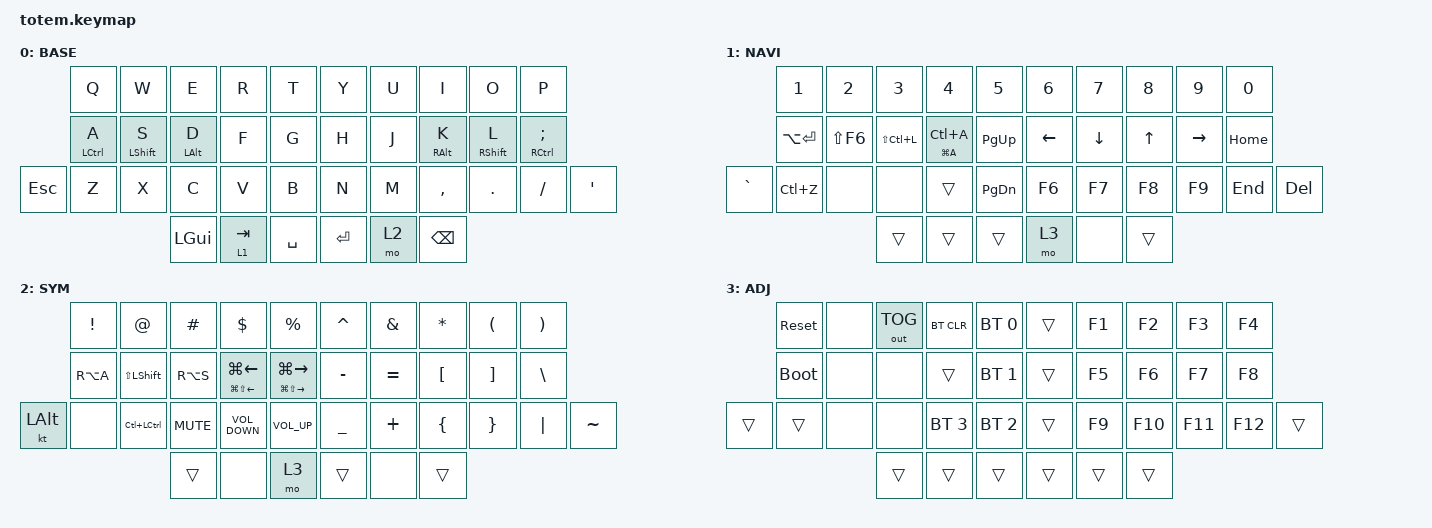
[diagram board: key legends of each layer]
//
//                                                        ▀▀▀▀▀     ▀▀▀▀▀          ▀▀█▀▀
//                                                        ▄▀▀▀▄  ▄  ▄▀▀▀▄  ▄  ▄▀▀▀▄  █  ▄▀▀▀▄
//                                                        █   █  █  █   █  █  █   █  █  █   █
//                                                         ▀▀▀   █   ▀▀▀   █   ▀▀▀   ▀   ▀▀▀
//                                                               █      ▄▄▄█▄▄▄    █   █  
//                                                               ▀      █  █  █     █▄█
//                                                             ▀▀▀▀▀    █  █  █      ▀
//                                                                      ▀  ▀  ▀
//
// ▄▄▄▄▄▄▄▄▄▄▄▄▄▄▄▄▄▄▄▄▄▄▄▄▄▄▄▄▄▄▄▄▄▄▄▄▄▄▄▄▄▄▄▄▄▄▄▄▄▄▄▄▄▄▄▄▄▄▄▄▄▄▄▄▄▄▄▄▄▄▄▄▄▄▄▄▄▄▄▄▄▄▄▄▄▄▄▄▄▄▄▄▄▄▄▄▄▄▄▄▄▄▄▄▄▄▄▄▄▄▄▄▄▄▄▄▄▄▄▄▄▄▄▄▄▄▄▄▄▄▄▄▄▄▄▄▄▄▄▄▄▄▄▄▄▄▄▄▄

#include <behaviors.dtsi>
#include <dt-bindings/zmk/bt.h>
#include <dt-bindings/zmk/keys.h>
#include <dt-bindings/zmk/outputs.h>

#define BASE 0
#define NAV  1
#define SYM  2
#define ADJ  3
#define TVP1 4
#define TVP2 5

&mt {
    quick-tap-ms = <100>;
    global-quick-tap;
    flavor = "tap-preferred";
    tapping-term-ms = <180>;
};

/ {
    combos {
        compatible = "zmk,combos";

        combo_esc {
            timeout-ms = <50>;
            key-positions = <0 1>;
            bindings = <&kp ESC>;
        };

        screenshot {
            bindings = <&mt PRINTSCREEN LG(LS(NUMBER_4))>;
            key-positions = <26 27 28 29>;
        };

        backspace {
            bindings = <&kp BACKSPACE>;
            key-positions = <25 24 23>;
        };

        toggleshift {
            bindings = <&kt LEFT_SHIFT>;
            key-positions = <15 16 17>;
        };

        bspace_right {
            bindings = <&kp BACKSPACE>;
            key-positions = <26 27 28>;
        };

        copy {
            bindings = <&kp C_AC_COPY>;
            key-positions = <12 13>;
        };

        paste {
            bindings = <&kp C_AC_PASTE>;
            key-positions = <14 13>;
        };

        layout {
            bindings = <&kp LS(LEFT_ALT)>;
            key-positions = <10 11 12 24>;
        };

        Project_window {
            bindings = <&kp LA(NUMBER_1)>;
            key-positions = <11 12>;
        };

        Git_window {
            bindings = <&kp LA(N9)>;
            key-positions = <22 23>;
        };
    };

    keymap {
        compatible = "zmk,keymap";

        // ▄▄▄▄▄▄▄▄▄▄▄▄▄▄▄▄▄▄▄▄▄▄▄▄▄▄▄▄▄▄▄▄▄▄▄▄▄▄▄▄▄▄▄▄▄▄▄▄▄▄▄▄▄▄▄▄▄▄▄▄▄▄▄▄▄▄▄▄▄▄▄▄▄▄▄▄▄▄▄▄▄▄▄▄▄▄▄▄▄▄▄▄▄▄▄▄▄▄▄▄▄▄▄▄▄▄▄▄▄▄▄▄▄▄▄▄▄▄▄▄▄▄▄▄▄▄▄▄▄▄▄▄▄▄▄▄▄▄▄▄▄▄▄▄▄▄▄▄▄

        base_layer {
            // ┏━━━━━━━━━━━━━━━━━━━━━━━━━━━━━━━━━━━━━━━┓

            label = "BASE";

            // ┗━━━━━━━━━━━━━━━━━━━━━━━━━━━━━━━━━━━━━━━┛
            //             ┏━━━━━━━━━━━┳━━━━━━━━━━━┳━━━━━━━━━━━┳━━━━━━━━━━━┳━━━━━━━━━━━┓   ┏━━━━━━━━━━━┳━━━━━━━━━━━┳━━━━━━━━━━━┳━━━━━━━━━━━┳━━━━━━━━━━━┓
            //             ┃     Q     ┃     W     ┃     F     ┃     P     ┃     G     ┃   ┃     J     ┃     L     ┃     U     ┃     Y     ┃     ;     ┃
            //             ┣━━━━━━━━━━━╋━━━━━━━━━━━╋━━━━━━━━━━━╋━━━━━━━━━━━╋━━━━━━━━━━━┫   ┣━━━━━━━━━━━╋━━━━━━━━━━━╋━━━━━━━━━━━╋━━━━━━━━━━━╋━━━━━━━━━━━┫
            //             ┃     A     ┃     R     ┃     S     ┃     T     ┃     D     ┃   ┃     H     ┃     N     ┃     E     ┃     I     ┃     O     ┃
            // ┏━━━━━━━━━━━╋━━━━━━━━━━━╋━━━━━━━━━━━╋━━━━━━━━━━━╋━━━━━━━━━━━╋━━━━━━━━━━━┫   ┣━━━━━━━━━━━╋━━━━━━━━━━━╋━━━━━━━━━━━╋━━━━━━━━━━━╋━━━━━━━━━━━╋━━━━━━━━━━━┓
            // ┃     Q     ┃     Z     ┃     X     ┃     C     ┃     V     ┃     B     ┃   ┃     K     ┃     M     ┃     ,     ┃     .     ┃     /     ┃     \     ┃
            // ┗━━━━━━━━━━━┻━━━━━━━━━━━┻━━━━━━━━━━━╋━━━━━━━━━━━╋━━━━━━━━━━━╋━━━━━━━━━━━┫   ┣━━━━━━━━━━━╋━━━━━━━━━━━╋━━━━━━━━━━━╋━━━━━━━━━━━┻━━━━━━━━━━━┻━━━━━━━━━━━┛
            //                                     ┃    DEL    ┃    TAB    ┃    SPC    ┃   ┃   ENTER   ┃           ┃   BSPC    ┃
            //                                     ┗━━━━━━━━━━━┻━━━━━━━━━━━┻━━━━━━━━━━━┛   ┗━━━━━━━━━━━┻━━━━━━━━━━━┻━━━━━━━━━━━┛

            bindings = <
         &kp Q        &kp W         &kp E           &kp R      &kp T        &kp Y    &kp U  &kp I            &kp O              &kp P
         &mt LCTRL A  &mt LSHIFT S  &mt LEFT_ALT D  &kp F      &kp G        &kp H    &kp J  &mt RIGHT_ALT K  &mt RIGHT_SHIFT L  &mt RCTRL SEMI
&kp ESC  &kp Z        &kp X         &kp C           &kp V      &kp B        &kp N    &kp M  &kp COMMA        &kp DOT            &kp FSLH        &kp APOS
                                    &kp LGUI        &lt 1 TAB  &kp SPACE    &kp RET  &mo 2  &kp BSPC
            >;
        };

        // ▄▄▄▄▄▄▄▄▄▄▄▄▄▄▄▄▄▄▄▄▄▄▄▄▄▄▄▄▄▄▄▄▄▄▄▄▄▄▄▄▄▄▄▄▄▄▄▄▄▄▄▄▄▄▄▄▄▄▄▄▄▄▄▄▄▄▄▄▄▄▄▄▄▄▄▄▄▄▄▄▄▄▄▄▄▄▄▄▄▄▄▄▄▄▄▄▄▄▄▄▄▄▄▄▄▄▄▄▄▄▄▄▄▄▄▄▄▄▄▄▄▄▄▄▄▄▄▄▄▄▄▄▄▄▄▄▄▄▄▄▄▄▄▄▄▄▄▄▄

        nav_layer {
            // ┏━━━━━━━━━━━━━━━━━━━━━━━━━━━━━━━━━━━━━━━┓

            label = "NAVI";

            // ┗━━━━━━━━━━━━━━━━━━━━━━━━━━━━━━━━━━━━━━━┛
            //             ┏━━━━━━━━━━━┳━━━━━━━━━━━┳━━━━━━━━━━━┳━━━━━━━━━━━┳━━━━━━━━━━━┓   ┏━━━━━━━━━━━┳━━━━━━━━━━━┳━━━━━━━━━━━┳━━━━━━━━━━━┳━━━━━━━━━━━┓
            //             ┃           ┃           ┃     UP    ┃           ┃     {     ┃   ┃     }     ┃     7     ┃     8     ┃     9     ┃     +     ┃
            //             ┣━━━━━━━━━━━╋━━━━━━━━━━━╋━━━━━━━━━━━╋━━━━━━━━━━━╋━━━━━━━━━━━┫   ┣━━━━━━━━━━━╋━━━━━━━━━━━╋━━━━━━━━━━━╋━━━━━━━━━━━╋━━━━━━━━━━━┫
            //             ┃   SHIFT   ┃   LEFT    ┃    DOWN   ┃   RIGHT   ┃     [     ┃   ┃     ]     ┃     4     ┃     5     ┃     6     ┃     -     ┃
            // ┏━━━━━━━━━━━╋━━━━━━━━━━━╋━━━━━━━━━━━╋━━━━━━━━━━━╋━━━━━━━━━━━╋━━━━━━━━━━━┫   ┣━━━━━━━━━━━╋━━━━━━━━━━━╋━━━━━━━━━━━╋━━━━━━━━━━━╋━━━━━━━━━━━╋━━━━━━━━━━━┓
            // ┃           ┃           ┃   P UP    ┃  C LOCK   ┃  P DOWN   ┃     (     ┃   ┃     )     ┃     1     ┃     2     ┃     3     ┃     *     ┃           ┃
            // ┗━━━━━━━━━━━┻━━━━━━━━━━━┻━━━━━━━━━━━╋━━━━━━━━━━━╋━━━━━━━━━━━╋━━━━━━━━━━━┫   ┣━━━━━━━━━━━╋━━━━━━━━━━━╋━━━━━━━━━━━╋━━━━━━━━━━━┻━━━━━━━━━━━┻━━━━━━━━━━━┛
            //                                     ┃           ┃    TAB    ┃    SPC    ┃   ┃    DEL    ┃     0     ┃           ┃
            //                                     ┗━━━━━━━━━━━┻━━━━━━━━━━━┻━━━━━━━━━━━┛   ┗━━━━━━━━━━━┻━━━━━━━━━━━┻━━━━━━━━━━━┛

            bindings = <
           &kp NUMBER_1   &kp NUMBER_2  &kp NUMBER_3   &kp NUMBER_4     &kp N5           &kp NUMBER_6  &kp N7    &kp NUMBER_8  &kp NUMBER_9  &kp N0
           &kp LA(ENTER)  &kp LS(F6)    &kp LS(LC(L))  &mt LG(A) LC(A)  &kp PAGE_UP      &kp LEFT      &kp DOWN  &kp UP_ARROW  &kp RIGHT     &kp HOME
&kp GRAVE  &kp LC(Z)      &none         &none          &trans           &kp PAGE_DOWN    &kp F6        &kp F7    &kp F8        &kp F9        &kp END   &kp DELETE
                                        &trans         &trans           &trans           &mo 3         &none     &trans
            >;
        };

        // ▄▄▄▄▄▄▄▄▄▄▄▄▄▄▄▄▄▄▄▄▄▄▄▄▄▄▄▄▄▄▄▄▄▄▄▄▄▄▄▄▄▄▄▄▄▄▄▄▄▄▄▄▄▄▄▄▄▄▄▄▄▄▄▄▄▄▄▄▄▄▄▄▄▄▄▄▄▄▄▄▄▄▄▄▄▄▄▄▄▄▄▄▄▄▄▄▄▄▄▄▄▄▄▄▄▄▄▄▄▄▄▄▄▄▄▄▄▄▄▄▄▄▄▄▄▄▄▄▄▄▄▄▄▄▄▄▄▄▄▄▄▄▄▄▄▄▄▄▄

        sim_layer {
            // ┏━━━━━━━━━━━━━━━━━━━━━━━━━━━━━━━━━━━━━━━┓

            label = "SYM";

            // ┗━━━━━━━━━━━━━━━━━━━━━━━━━━━━━━━━━━━━━━━┛
            //             ┏━━━━━━━━━━━┳━━━━━━━━━━━┳━━━━━━━━━━━┳━━━━━━━━━━━┳━━━━━━━━━━━┓   ┏━━━━━━━━━━━┳━━━━━━━━━━━┳━━━━━━━━━━━┳━━━━━━━━━━━┳━━━━━━━━━━━┓
            //             ┃     !     ┃     @     ┃     #     ┃     $     ┃     %     ┃   ┃     ˆ     ┃     &     ┃     Ü     ┃     '     ┃     "     ┃
            //             ┣━━━━━━━━━━━╋━━━━━━━━━━━╋━━━━━━━━━━━╋━━━━━━━━━━━╋━━━━━━━━━━━┫   ┣━━━━━━━━━━━╋━━━━━━━━━━━╋━━━━━━━━━━━╋━━━━━━━━━━━╋━━━━━━━━━━━┫
            //             ┃     Ä     ┃           ┃    SZ     ┃           ┃           ┃   ┃   MUTE    ┃   YEN     ┃   EURO    ┃  POUND    ┃     Ö     ┃
            // ┏━━━━━━━━━━━╋━━━━━━━━━━━╋━━━━━━━━━━━╋━━━━━━━━━━━╋━━━━━━━━━━━╋━━━━━━━━━━━┫   ┣━━━━━━━━━━━╋━━━━━━━━━━━╋━━━━━━━━━━━╋━━━━━━━━━━━╋━━━━━━━━━━━╋━━━━━━━━━━━┓
            // ┃           ┃  EMAIL1   ┃  EMAIL2   ┃           ┃           ┃           ┃   ┃   VOL-    ┃   VOL+    ┃   LAST    ┃   NEXT    ┃     \     ┃           ┃
            // ┗━━━━━━━━━━━┻━━━━━━━━━━━┻━━━━━━━━━━━╋━━━━━━━━━━━╋━━━━━━━━━━━╋━━━━━━━━━━━┫   ┣━━━━━━━━━━━╋━━━━━━━━━━━╋━━━━━━━━━━━╋━━━━━━━━━━━┻━━━━━━━━━━━┻━━━━━━━━━━━┛
            //                                     ┃           ┃    GIF    ┃    ADJ    ┃   ┃           ┃           ┃           ┃
            //                                     ┗━━━━━━━━━━━┻━━━━━━━━━━━┻━━━━━━━━━━━┛   ┗━━━━━━━━━━━┻━━━━━━━━━━━┻━━━━━━━━━━━┛

            bindings = <
              &kp EXCL   &kp AT                &kp HASH    &kp DLLR                   &kp PRCNT                      &kp CARET  &kp AMPS   &kp ASTRK  &kp LPAR  &kp RPAR
              &kp RA(A)  &kp LS(LSHIFT)        &kp RA(S)   &mt LG(LS(LEFT)) LG(LEFT)  &mt LG(LS(RIGHT)) LG(RIGHT)    &kp MINUS  &kp EQUAL  &kp LBKT   &kp RBKT  &kp BSLH
&kt LEFT_ALT  &none      &kp LC(LEFT_CONTROL)  &kp K_MUTE  &kp C_VOLUME_DOWN          &kp C_VOLUME_UP                &kp UNDER  &kp PLUS   &kp LBRC   &kp RBRC  &kp PIPE  &kp TILDE
                                               &trans      &none                      &mo 3                          &trans     &none      &trans
            >;
        };

        // ▄▄▄▄▄▄▄▄▄▄▄▄▄▄▄▄▄▄▄▄▄▄▄▄▄▄▄▄▄▄▄▄▄▄▄▄▄▄▄▄▄▄▄▄▄▄▄▄▄▄▄▄▄▄▄▄▄▄▄▄▄▄▄▄▄▄▄▄▄▄▄▄▄▄▄▄▄▄▄▄▄▄▄▄▄▄▄▄▄▄▄▄▄▄▄▄▄▄▄▄▄▄▄▄▄▄▄▄▄▄▄▄▄▄▄▄▄▄▄▄▄▄▄▄▄▄▄▄▄▄▄▄▄▄▄▄▄▄▄▄▄▄▄▄▄▄▄▄▄

        adjust_layer {
            // ┏━━━━━━━━━━━━━━━━━━━━━━━━━━━━━━━━━━━━━━━┓

            label = "ADJ";

            // ┗━━━━━━━━━━━━━━━━━━━━━━━━━━━━━━━━━━━━━━━┛
            //             ┏━━━━━━━━━━━┳━━━━━━━━━━━┳━━━━━━━━━━━┳━━━━━━━━━━━┳━━━━━━━━━━━┓   ┏━━━━━━━━━━━┳━━━━━━━━━━━┳━━━━━━━━━━━┳━━━━━━━━━━━┳━━━━━━━━━━━┓
            //             ┃   RESET   ┃ BT CLEAR  ┃  OUT TOG  ┃           ┃           ┃   ┃           ┃    F7     ┃    F8     ┃    F9     ┃    F12    ┃
            //             ┣━━━━━━━━━━━╋━━━━━━━━━━━╋━━━━━━━━━━━╋━━━━━━━━━━━╋━━━━━━━━━━━┫   ┣━━━━━━━━━━━╋━━━━━━━━━━━╋━━━━━━━━━━━╋━━━━━━━━━━━╋━━━━━━━━━━━┫
            //             ┃ BOOTLOAD  ┃ BT NEXT   ┃           ┃           ┃           ┃   ┃           ┃    F4     ┃    F5     ┃    F6     ┃    F11    ┃
            // ┏━━━━━━━━━━━╋━━━━━━━━━━━╋━━━━━━━━━━━╋━━━━━━━━━━━╋━━━━━━━━━━━╋━━━━━━━━━━━┫   ┣━━━━━━━━━━━╋━━━━━━━━━━━╋━━━━━━━━━━━╋━━━━━━━━━━━╋━━━━━━━━━━━╋━━━━━━━━━━━┓
            // ┃           ┃           ┃ BT PREV   ┃           ┃           ┃           ┃   ┃           ┃    F1     ┃    F2     ┃    F3     ┃    F10    ┃           ┃
            // ┗━━━━━━━━━━━┻━━━━━━━━━━━┻━━━━━━━━━━━╋━━━━━━━━━━━╋━━━━━━━━━━━╋━━━━━━━━━━━┫   ┣━━━━━━━━━━━╋━━━━━━━━━━━╋━━━━━━━━━━━╋━━━━━━━━━━━┻━━━━━━━━━━━┻━━━━━━━━━━━┛
            //                                     ┃           ┃           ┃           ┃   ┃           ┃           ┃           ┃
            //                                     ┗━━━━━━━━━━━┻━━━━━━━━━━━┻━━━━━━━━━━━┛   ┗━━━━━━━━━━━┻━━━━━━━━━━━┻━━━━━━━━━━━┛

            bindings = <
        &sys_reset   &none  &out OUT_TOG  &bt BT_CLR    &bt BT_SEL 0    &trans  &kp F1  &kp F2   &kp F3   &kp F4
        &bootloader  &none  &none         &trans        &bt BT_SEL 1    &trans  &kp F5  &kp F6   &kp F7   &kp F8
&trans  &trans       &none  &none         &bt BT_SEL 3  &bt BT_SEL 2    &trans  &kp F9  &kp F10  &kp F11  &kp F12  &trans
                            &trans        &trans        &trans          &trans  &trans  &trans
            >;
        };

        // ▄▄▄▄▄▄▄▄▄▄▄▄▄▄▄▄▄▄▄▄▄▄▄▄▄▄▄▄▄▄▄▄▄▄▄▄▄▄▄▄▄▄▄▄▄▄▄▄▄▄▄▄▄▄▄▄▄▄▄▄▄▄▄▄▄▄▄▄▄▄▄▄▄▄▄▄▄▄▄▄▄▄▄▄▄▄▄▄▄▄▄▄▄▄▄▄▄▄▄▄▄▄▄▄▄▄▄▄▄▄▄▄▄▄▄▄▄▄▄▄▄▄▄▄▄▄▄▄▄▄▄▄▄▄▄▄▄▄▄▄▄▄▄▄▄▄▄▄▄
        // ▄▄▄▄▄▄▄▄▄▄▄▄▄▄▄▄▄▄▄▄▄▄▄▄▄▄▄▄▄▄▄▄▄▄▄▄▄▄▄▄▄▄▄▄▄▄▄▄▄▄▄▄▄▄▄▄▄▄▄▄▄▄▄▄▄▄▄▄▄▄▄▄▄▄▄▄▄▄▄▄▄▄▄▄▄▄▄▄▄▄▄▄▄▄▄▄▄▄▄▄▄▄▄▄▄▄▄▄▄▄▄▄▄▄▄▄▄▄▄▄▄▄▄▄▄▄▄▄▄▄▄▄▄▄▄▄▄▄▄▄▄▄▄▄▄▄▄▄▄
    };
};
